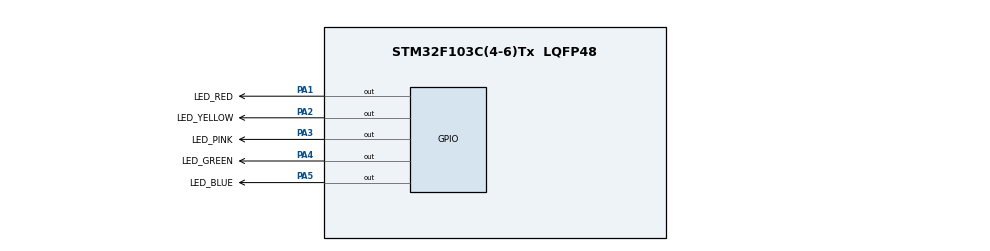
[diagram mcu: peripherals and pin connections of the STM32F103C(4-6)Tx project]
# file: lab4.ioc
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Mcu.Family=STM32F1
Mcu.Name=STM32F103C(4-6)Tx
Mcu.Package=LQFP48
NVIC.PriorityGroup=NVIC_PRIORITYGROUP_4
NVIC.TIM2_IRQn=true\:0\:0\:false\:false\:true\:true\:true
PA1.GPIO_Label=LED_RED
PA1.Signal=GPIO_Output
PA2.GPIO_Label=LED_YELLOW
PA2.Signal=GPIO_Output
PA3.GPIO_Label=LED_PINK
PA3.Signal=GPIO_Output
PA4.GPIO_Label=LED_GREEN
PA4.Signal=GPIO_Output
PA5.GPIO_Label=LED_BLUE
PA5.Signal=GPIO_Output
ProjectManager.HeapSize=0x200
ProjectManager.StackSize=0x400
ProjectManager.TargetToolchain=STM32CubeIDE
RCC.APB1Freq_Value=8000000
RCC.APB2Freq_Value=8000000
TIM2.Period=9
TIM2.Prescaler=7999
VP_SYS_VS_ND.Mode=No_Debug
VP_TIM2_VS_ClockSourceINT.Mode=Internal
board=custom

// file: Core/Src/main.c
/* USER CODE BEGIN Header */
/**
  ******************************************************************************
  * @file           : main.c
  * @brief          : Main program body
  ******************************************************************************
  * @attention
  *
  * <h2><center>&copy; Copyright (c) 2024 STMicroelectronics.
  * All rights reserved.</center></h2>
  *
  * This software component is licensed by ST under BSD 3-Clause license,
  * the "License"; You may not use this file except in compliance with the
  * License. You may obtain a copy of the License at:
  *                        opensource.org/licenses/BSD-3-Clause
  *
  ******************************************************************************
  */
/* USER CODE END Header */
#include "main.h"
#include "scheduler.h"

TIM_HandleTypeDef htim2;

void SystemClock_Config(void);
static void MX_GPIO_Init(void);
static void MX_TIM2_Init(void);

/* USER CODE BEGIN 0 */
void toggleRed() {
	HAL_GPIO_TogglePin(GPIOA, LED_RED_Pin);
}

void toggleGreen() {
	HAL_GPIO_TogglePin(GPIOA,LED_GREEN_Pin);
}

void toggleYellow() {
	HAL_GPIO_TogglePin(GPIOA, LED_YELLOW_Pin);
}

void toggleBlue() {
	HAL_GPIO_TogglePin(GPIOA, LED_BLUE_Pin);
}

void togglePink() {
	HAL_GPIO_TogglePin(GPIOA, LED_PINK_Pin);
}
/* USER CODE END 0 */

int main(void)
{

  /* MCU Configuration--------------------------------------------------------*/

  /* Reset of all peripherals, Initializes the Flash interface and the Systick. */
  HAL_Init();

  /* Configure the system clock */
  SystemClock_Config();

  /* Initialize all configured peripherals */
  MX_GPIO_Init();
  MX_TIM2_Init();
  /* USER CODE BEGIN 2 */
  Scheduler_Add_Task(toggleRed, 150, 0);
  Scheduler_Add_Task(toggleGreen,200, 0);
  Scheduler_Add_Task(toggleYellow, 200, 0);
  Scheduler_Add_Task(toggleBlue, 500, 0);
  Scheduler_Add_Task(togglePink, 350, 0);
  /* USER CODE END 2 */

  /* Infinite loop */
  /* USER CODE BEGIN WHILE */
  HAL_TIM_Base_Start_IT(&htim2);
  while (1)
  {
    /* USER CODE END WHILE */
	  Scheduler_Dispatch();    /* USER CODE BEGIN 3 */
  }
  /* USER CODE END 3 */
}

void SystemClock_Config(void)
{
  RCC_OscInitTypeDef RCC_OscInitStruct = {0};
  RCC_ClkInitTypeDef RCC_ClkInitStruct = {0};

  /** Initializes the RCC Oscillators according to the specified parameters
  * in the RCC_OscInitTypeDef structure.
  */
  RCC_OscInitStruct.OscillatorType = RCC_OSCILLATORTYPE_HSI;
  RCC_OscInitStruct.HSIState = RCC_HSI_ON;
  RCC_OscInitStruct.HSICalibrationValue = RCC_HSICALIBRATION_DEFAULT;
  RCC_OscInitStruct.PLL.PLLState = RCC_PLL_NONE;
  if (HAL_RCC_OscConfig(&RCC_OscInitStruct) != HAL_OK)
  {
    Error_Handler();
  }
  /** Initializes the CPU, AHB and APB buses clocks
  */
  RCC_ClkInitStruct.ClockType = RCC_CLOCKTYPE_HCLK|RCC_CLOCKTYPE_SYSCLK
                              |RCC_CLOCKTYPE_PCLK1|RCC_CLOCKTYPE_PCLK2;
  RCC_ClkInitStruct.SYSCLKSource = RCC_SYSCLKSOURCE_HSI;
  RCC_ClkInitStruct.AHBCLKDivider = RCC_SYSCLK_DIV1;
  RCC_ClkInitStruct.APB1CLKDivider = RCC_HCLK_DIV1;
  RCC_ClkInitStruct.APB2CLKDivider = RCC_HCLK_DIV1;

  if (HAL_RCC_ClockConfig(&RCC_ClkInitStruct, FLASH_LATENCY_0) != HAL_OK)
  {
    Error_Handler();
  }
}

static void MX_TIM2_Init(void)
{

  TIM_ClockConfigTypeDef sClockSourceConfig = {0};
  TIM_MasterConfigTypeDef sMasterConfig = {0};

  htim2.Instance = TIM2;
  htim2.Init.Prescaler = 7999;
  htim2.Init.CounterMode = TIM_COUNTERMODE_UP;
  htim2.Init.Period = 9;
  htim2.Init.ClockDivision = TIM_CLOCKDIVISION_DIV1;
  htim2.Init.AutoReloadPreload = TIM_AUTORELOAD_PRELOAD_DISABLE;
  if (HAL_TIM_Base_Init(&htim2) != HAL_OK)
  {
    Error_Handler();
  }
  sClockSourceConfig.ClockSource = TIM_CLOCKSOURCE_INTERNAL;
  if (HAL_TIM_ConfigClockSource(&htim2, &sClockSourceConfig) != HAL_OK)
  {
    Error_Handler();
  }
  sMasterConfig.MasterOutputTrigger = TIM_TRGO_RESET;
  sMasterConfig.MasterSlaveMode = TIM_MASTERSLAVEMODE_DISABLE;
  if (HAL_TIMEx_MasterConfigSynchronization(&htim2, &sMasterConfig) != HAL_OK)
  {
    Error_Handler();
  }

}

static void MX_GPIO_Init(void)
{
  GPIO_InitTypeDef GPIO_InitStruct = {0};

  /* GPIO Ports Clock Enable */
  __HAL_RCC_GPIOA_CLK_ENABLE();

  /*Configure GPIO pin Output Level */
  HAL_GPIO_WritePin(GPIOA, LED_RED_Pin|LED_YELLOW_Pin|LED_PINK_Pin|LED_GREEN_Pin
                          |LED_BLUE_Pin, GPIO_PIN_RESET);

  /*Configure GPIO pins : LED_RED_Pin LED_YELLOW_Pin LED_PINK_Pin LED_GREEN_Pin
                           LED_BLUE_Pin */
  GPIO_InitStruct.Pin = LED_RED_Pin|LED_YELLOW_Pin|LED_PINK_Pin|LED_GREEN_Pin
                          |LED_BLUE_Pin;
  GPIO_InitStruct.Mode = GPIO_MODE_OUTPUT_PP;
  GPIO_InitStruct.Pull = GPIO_NOPULL;
  GPIO_InitStruct.Speed = GPIO_SPEED_FREQ_LOW;
  HAL_GPIO_Init(GPIOA, &GPIO_InitStruct);

}

/* USER CODE BEGIN 4 */
void HAL_TIM_PeriodElapsedCallback(TIM_HandleTypeDef *htim) {
	        Scheduler_Update();
	    }
/* USER CODE END 4 */

void Error_Handler(void)
{
  __disable_irq();
  while (1)
  {
  }
}

/************************ (C) COPYRIGHT STMicroelectronics *****END OF FILE****/
